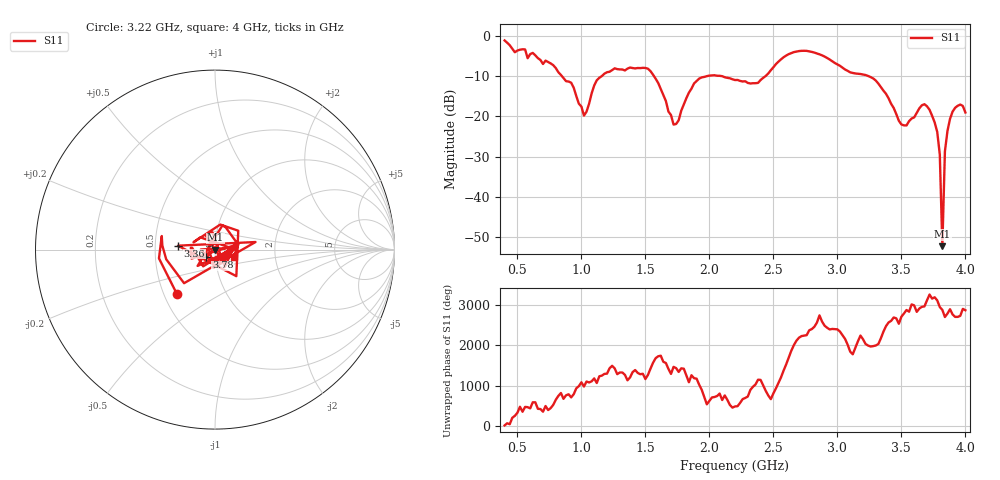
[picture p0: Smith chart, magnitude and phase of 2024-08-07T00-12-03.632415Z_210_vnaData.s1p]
!Created with skrf (http://scikit-rf.org).
# Hz S RI R 50.0
!freq ReS11 ImS11
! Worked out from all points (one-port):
!   181 points, 400 MHz to 4 GHz, reference 50 ohm
!   lowest |S11| = -52.2 dB at 3.82 GHz (marker M1), VSWR 1.00, Z = 50.2 - j0.052 ohm
!   |S11| at or under -10 dB: 1.566 GHz to 1.987 GHz (421.2 MHz wide, 23.7 % of centre); 2.088 GHz to 2.44 GHz (352.1 MHz wide, 15.6 % of centre); 3.239 GHz to end of sweep (the widest 3 of 4)
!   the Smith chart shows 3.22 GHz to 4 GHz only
!   S11 on the Smith chart (normalised r, x): 3.22 GHz: 0.58, -0.32; 3.36 GHz: 0.66, +0.03; 3.78 GHz: 0.91, -0.08; 4 GHz: 1.23, -0.10
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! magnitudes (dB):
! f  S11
! 400 MHz  -1.2
! 860 MHz  -10.5
! 920 MHz  -11.7
! 1.02 GHz  -19.8
! 1.12 GHz  -11.1
! 1.3 GHz  -8.4
! 1.52 GHz  -8.2
! 1.6 GHz  -11.7
! 1.72 GHz  -22.1
! 1.76 GHz  -21.0
! 1.92 GHz  -10.7
! 2.2 GHz  -11.0
! 2.38 GHz  -11.7
! 2.66 GHz  -4.1
! 2.86 GHz  -4.6
! 3.1 GHz  -9.1
! 3.22 GHz  -9.8
! 3.36 GHz  -13.7
! 3.5 GHz  -22.0
! 3.56 GHz  -21.2
! 3.68 GHz  -17.0
! 3.78 GHz  -23.9
! 3.8 GHz  -29.5
! 3.82 GHz  -52.2
! 3.84 GHz  -28.7
! 3.86 GHz  -23.6
! 3.92 GHz  -17.9
! 4 GHz  -19.1
